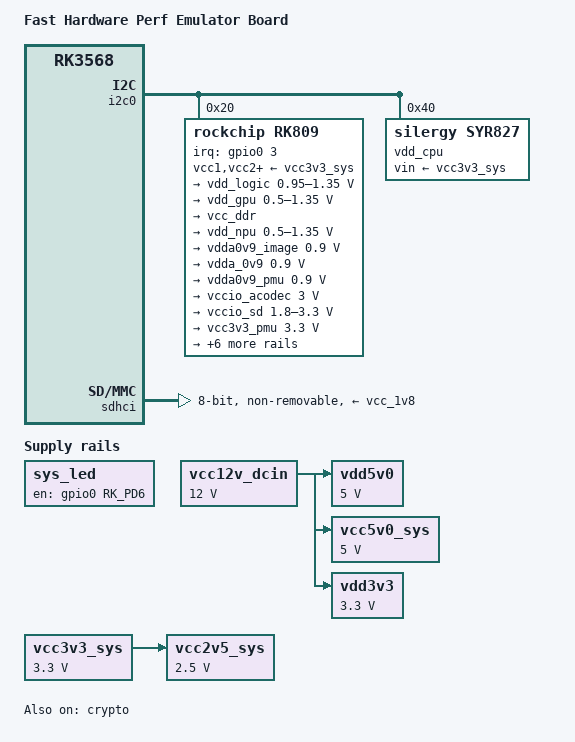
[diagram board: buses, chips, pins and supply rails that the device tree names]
// SPDX-License-Identifier: (GPL-2.0+ OR MIT)
/*
* Copyright (c) 2020 Rockchip Electronics Co., Ltd.
* Copyright (c) 2025 Sergey Kharenko
*/

/dts-v1/;

#include "rk3568.dtsi"
#include "rk3568-u-boot.dtsi"
#include <dt-bindings/input/input.h>

/ {
	model = "Fast Hardware Perf Emulator Board";
	compatible = "fhpe, rk3568", "rockchip,rk3568";

    aliases {
		mmc0 = &sdhci;
	};

	sys_led: sys-led {
		u-boot,dm-pre-reloc;
		compatible = "regulator-fixed";
        regulator-boot-on;
		regulator-name = "sys_led";
		enable-active-high;
        pinctrl-names = "default";
		pinctrl-0 = <&sys_led_pin>;
		gpios = <&gpio0 RK_PD6 GPIO_ACTIVE_HIGH>;
	};

	vcc12v_dcin: vcc12v-dcin-regulator {
        u-boot,dm-pre-reloc;
		compatible = "regulator-fixed";
		regulator-name = "vcc12v_dcin";
		regulator-always-on;
		regulator-boot-on;
		regulator-min-microvolt = <12000000>;
		regulator-max-microvolt = <12000000>;
        vin-supply = <&vcc12v_dcin>;
	};

    vdd5v0: vdd5v0 {
        u-boot,dm-pre-reloc;
        compatible = "regulator-fixed";
        regulator-name = "vdd5v0";
        regulator-always-on;
        regulator-boot-on;
        regulator-min-microvolt = <5000000>;
        regulator-max-microvolt = <5000000>;
        vin-supply = <&vcc12v_dcin>;
    };

    vcc5v0_sys: vcc5v0-sys {
        u-boot,dm-pre-reloc;
        compatible = "regulator-fixed";
        regulator-name = "vcc5v0_sys";
        regulator-always-on;
        regulator-boot-on;
        regulator-min-microvolt = <5000000>;
        regulator-max-microvolt = <5000000>;
        vin-supply = <&vcc12v_dcin>;
    };

    vcc3v3_sys: vcc3v3-sys {
        u-boot,dm-pre-reloc;
        compatible = "regulator-fixed";
        regulator-name = "vcc3v3_sys";
        regulator-always-on;
        regulator-boot-on;
        regulator-min-microvolt = <3300000>;
        regulator-max-microvolt = <3300000>;
    };

    vdd3v3: vdd3v3 {
        u-boot,dm-pre-reloc;
        compatible = "regulator-fixed";
		regulator-always-on;
        regulator-boot-on;
		regulator-name = "vdd3v3";
        regulator-min-microvolt = <3300000>;
        regulator-max-microvolt = <3300000>;
        vin-supply = <&vcc12v_dcin>;
    };

    vcc2v5_sys: vcc2v5-ddr {
        u-boot,dm-pre-reloc;
        compatible = "regulator-fixed";
        regulator-name = "vcc2v5-sys";
        regulator-always-on;
        regulator-boot-on;
        regulator-min-microvolt = <2500000>;
        regulator-max-microvolt = <2500000>;
        vin-supply = <&vcc3v3_sys>;
    };
};

&crypto {
	status = "okay";
};

&gpio0 {
	u-boot,dm-pre-reloc;
	status = "okay";
};

&gpio1 {
	u-boot,dm-pre-reloc;
	status = "okay";
};

&gpio3 {
	u-boot,dm-pre-reloc;
	status = "okay";
};

&gpio4 {
	u-boot,dm-pre-reloc;
	status = "okay";
};

&i2c0 {
    u-boot,dm-pre-reloc;
    status = "okay";

    rk809: pmic@20 {
        u-boot,dm-pre-reloc;
        compatible = "rockchip,rk809";
        reg = <0x20>;
        interrupt-parent = <&gpio0>;
        interrupts = <3 IRQ_TYPE_LEVEL_LOW>;

        pinctrl-names = "default", "pmic-sleep",
                "pmic-power-off", "pmic-reset";
        pinctrl-0 = <&pmic_int>;
        pinctrl-1 = <&soc_slppin_slp>, <&rk817_slppin_slp>;
        pinctrl-2 = <&soc_slppin_gpio>, <&rk817_slppin_pwrdn>;
        pinctrl-3 = <&soc_slppin_gpio>, <&rk817_slppin_rst>;

        rockchip,system-power-controller;
        wakeup-source;
        #clock-cells = <1>;
        clock-output-names = "rk808-clkout1", "rk808-clkout2";
        //fb-inner-reg-idxs = <2>;
        /* 1: rst regs (default in codes), 0: rst the pmic */
        pmic-reset-func = <0>;
        /* not save the PMIC_POWER_EN register in uboot */
        not-save-power-en = <1>;

        vcc1-supply = <&vcc3v3_sys>;
        vcc2-supply = <&vcc3v3_sys>;
        vcc3-supply = <&vcc3v3_sys>;
        vcc4-supply = <&vcc3v3_sys>;
        vcc5-supply = <&vcc3v3_sys>;
        vcc6-supply = <&vcc3v3_sys>;
        vcc7-supply = <&vcc3v3_sys>;
        vcc8-supply = <&vcc3v3_sys>;
        vcc9-supply = <&vcc3v3_sys>;

        pwrkey {
            u-boot,dm-pre-reloc;
            status = "okay";
        };

        pinctrl_rk8xx: pinctrl_rk8xx {
            u-boot,dm-pre-reloc;
            gpio-controller;
            #gpio-cells = <2>;

            rk817_slppin_null: rk817_slppin_null {
                u-boot,dm-pre-reloc;
                pins = "gpio_slp";
                function = "pin_fun0";
            };

            rk817_slppin_slp: rk817_slppin_slp {
                u-boot,dm-pre-reloc;
                pins = "gpio_slp";
                function = "pin_fun1";
            };

            rk817_slppin_pwrdn: rk817_slppin_pwrdn {
                u-boot,dm-pre-reloc;
                pins = "gpio_slp";
                function = "pin_fun2";
            };

            rk817_slppin_rst: rk817_slppin_rst {
                u-boot,dm-pre-reloc;
                pins = "gpio_slp";
                function = "pin_fun3";
            };
        };

        regulators {
            u-boot,dm-pre-reloc;
            vdd_logic: DCDC_REG1 {
                u-boot,dm-pre-reloc;
                regulator-always-on;
                regulator-boot-on;
                regulator-min-microvolt = <950000>;
                regulator-max-microvolt = <1350000>;
                regulator-init-microvolt = <950000>;
                regulator-ramp-delay = <6001>;
                regulator-initial-mode = <0x2>;
                regulator-name = "vdd_logic";
                regulator-state-mem {
                    u-boot,dm-pre-reloc;
                    regulator-off-in-suspend;
                };
            };

            vdd_gpu: DCDC_REG2 {
                u-boot,dm-pre-reloc;
                regulator-always-on;
                regulator-boot-on;
                regulator-min-microvolt = <500000>;
                regulator-max-microvolt = <1350000>;
                regulator-init-microvolt = <900000>;
                regulator-ramp-delay = <6001>;
                regulator-initial-mode = <0x2>;
                regulator-name = "vdd_gpu";
                regulator-state-mem {
                    u-boot,dm-pre-reloc;
                    regulator-off-in-suspend;
                };
            };

            vcc_ddr: DCDC_REG3 {
                u-boot,dm-pre-reloc;
                regulator-always-on;
                regulator-boot-on;
                regulator-initial-mode = <0x2>;
                regulator-name = "vcc_ddr";
                regulator-state-mem {
                    u-boot,dm-pre-reloc;
                    regulator-on-in-suspend;
                };
            };

            vdd_npu: DCDC_REG4 {
                u-boot,dm-pre-reloc;
                regulator-always-on;
                regulator-boot-on;
                regulator-min-microvolt = <500000>;
                regulator-max-microvolt = <1350000>;
                regulator-init-microvolt = <900000>;
                regulator-ramp-delay = <6001>;
                regulator-initial-mode = <0x2>;
                regulator-name = "vdd_npu";
                regulator-state-mem {
                    u-boot,dm-pre-reloc;
                    regulator-off-in-suspend;
                };
            };

            vdda0v9_image: LDO_REG1 {
                u-boot,dm-pre-reloc;
                regulator-boot-on;
                regulator-always-on;
                regulator-min-microvolt = <900000>;
                regulator-max-microvolt = <900000>;
                regulator-name = "vdda0v9_image";
                regulator-state-mem {
                    u-boot,dm-pre-reloc;
                    regulator-off-in-suspend;
                };
            };

            vdda_0v9: LDO_REG2 {
                u-boot,dm-pre-reloc;
                regulator-always-on;
                regulator-boot-on;
                regulator-min-microvolt = <900000>;
                regulator-max-microvolt = <900000>;
                regulator-name = "vdda_0v9";
                regulator-state-mem {
                    u-boot,dm-pre-reloc;
                    regulator-off-in-suspend;
                };
            };

            vdda0v9_pmu: LDO_REG3 {
                u-boot,dm-pre-reloc;
                regulator-always-on;
                regulator-boot-on;
                regulator-min-microvolt = <900000>;
                regulator-max-microvolt = <900000>;
                regulator-name = "vdda0v9_pmu";
                regulator-state-mem {
                    u-boot,dm-pre-reloc;
                    regulator-on-in-suspend;
                    regulator-suspend-microvolt = <900000>;
                };
            };

            vccio_acodec: LDO_REG4 {
                u-boot,dm-pre-reloc;
                regulator-always-on;
                regulator-boot-on;
                regulator-min-microvolt = <3000000>;
                regulator-max-microvolt = <3000000>;
                regulator-name = "vccio_acodec";
                regulator-state-mem {
                    u-boot,dm-pre-reloc;
                    regulator-off-in-suspend;
                };
            };

            vccio_sd: LDO_REG5 {
                u-boot,dm-pre-reloc;
                regulator-always-on;
                regulator-boot-on;
                regulator-min-microvolt = <1800000>;
                regulator-max-microvolt = <3300000>;
                regulator-name = "vccio_sd";
                regulator-state-mem {
                    u-boot,dm-pre-reloc;
                    regulator-off-in-suspend;
                };
            };

            vcc3v3_pmu: LDO_REG6 {
                u-boot,dm-pre-reloc;
                regulator-always-on;
                regulator-boot-on;
                regulator-min-microvolt = <3300000>;
                regulator-max-microvolt = <3300000>;
                regulator-name = "vcc3v3_pmu";
                regulator-state-mem {
                    u-boot,dm-pre-reloc;
                    regulator-on-in-suspend;
                    regulator-suspend-microvolt = <3300000>;
                };
            };

            vcca_1v8: LDO_REG7 {
                u-boot,dm-pre-reloc;
                regulator-always-on;
                regulator-boot-on;
                regulator-min-microvolt = <1800000>;
                regulator-max-microvolt = <1800000>;
                regulator-name = "vcca_1v8";
                regulator-state-mem {
                    u-boot,dm-pre-reloc;
                    regulator-off-in-suspend;
                };
            };

            vcca1v8_pmu: LDO_REG8 {
                u-boot,dm-pre-reloc;
                regulator-always-on;
                regulator-boot-on;
                regulator-min-microvolt = <1800000>;
                regulator-max-microvolt = <1800000>;
                regulator-name = "vcca1v8_pmu";
                regulator-state-mem {
                    u-boot,dm-pre-reloc;
                    regulator-on-in-suspend;
                    regulator-suspend-microvolt = <1800000>;
                };
            };

            vcca1v8_image: LDO_REG9 {
                u-boot,dm-pre-reloc;
                regulator-always-on;
                regulator-boot-on;
                regulator-min-microvolt = <1800000>;
                regulator-max-microvolt = <1800000>;
                regulator-name = "vcca1v8_image";
                regulator-state-mem {
                    u-boot,dm-pre-reloc;
                    regulator-off-in-suspend;
                };
            };

            vcc_1v8: DCDC_REG5 {
                u-boot,dm-pre-reloc;
                regulator-always-on;
                regulator-boot-on;
                regulator-min-microvolt = <1800000>;
                regulator-max-microvolt = <1800000>;
                regulator-name = "vcc_1v8";
                regulator-state-mem {
                    u-boot,dm-pre-reloc;
                    regulator-off-in-suspend;
                };
            };

            vcc_3v3: SWITCH_REG1 {
                u-boot,dm-pre-reloc;
                regulator-always-on;
                regulator-boot-on;
                regulator-name = "vcc_3v3";
                regulator-state-mem {
                    u-boot,dm-pre-reloc;
                    regulator-off-in-suspend;
                };
            };

            vcc3v3_sd: SWITCH_REG2 {
                u-boot,dm-pre-reloc;
                regulator-always-on;
                regulator-boot-on;
                regulator-name = "vcc3v3_sd";
                regulator-state-mem {
                    u-boot,dm-pre-reloc;
                    regulator-off-in-suspend;
                };
            };
        };
    };

    vdd_cpu: syr837@40 {
        u-boot,dm-pre-reloc;
        compatible = "silergy,syr827";
        reg = <0x40>;
        vin-supply = <&vcc3v3_sys>;
        regulator-compatible = "fan53555-reg";
        regulator-name = "vdd_cpu";
        regulator-min-microvolt = <712500>;
        regulator-max-microvolt = <1390000>;
        regulator-ramp-delay = <2300>;
        fcs,suspend-voltage-selector = <1>;
        regulator-always-on;
        regulator-boot-on;
        regulator-initial-state = <3>;
        regulator-state-mem {
            u-boot,dm-pre-reloc;
            regulator-off-in-suspend;
        };
    }; 
};

&pinctrl {
    u-boot,dm-spl;

	gpio-leds {
        u-boot,dm-pre-reloc;
		sys_led_pin: sys-led-pin {
            u-boot,dm-pre-reloc;
			rockchip,pins = <0 RK_PD6 RK_FUNC_GPIO &pcfg_pull_none>;
		};
	};

    pmic {
        u-boot,dm-pre-reloc;
        pmic_int: pmic_int {
            u-boot,dm-pre-reloc;
            rockchip,pins =
                <0 RK_PA3 RK_FUNC_GPIO &pcfg_pull_up>;
        };

        soc_slppin_gpio: soc_slppin_gpio {
            u-boot,dm-pre-reloc;
            rockchip,pins =
                <0 RK_PA2 RK_FUNC_GPIO &pcfg_output_low>;
        };

        soc_slppin_slp: soc_slppin_slp {
            u-boot,dm-pre-reloc;
            rockchip,pins =
                <0 RK_PA2 1 &pcfg_pull_none>;
        };

        soc_slppin_rst: soc_slppin_rst {
            u-boot,dm-pre-reloc;
            rockchip,pins =
                <0 RK_PA2 2 &pcfg_pull_none>;
        };
    };
};

&pmu_io_domains {
    u-boot,dm-pre-reloc;
    pmuio2-supply = <&vcc3v3_pmu>;
    vccio1-supply = <&vccio_acodec>;
    vccio3-supply = <&vccio_sd>;
    vccio4-supply = <&vcc_1v8>;
    vccio5-supply = <&vcc_3v3>;
    vccio6-supply = <&vcc_1v8>;
    vccio7-supply = <&vcc_3v3>;
    status = "okay";
};

&sdhci {
    u-boot,dm-pre-reloc;
    bus-width = <8>;
    supports-emmc;
    non-removable;
    mmc-hs400-1_8v;
	mmc-hs400-enhanced-strobe;
    max-frequency = <200000000>;
	vmmc-supply = <&vcc_1v8>;
	vqmmc-supply = <&vcc_1v8>;
    status = "okay";
};
